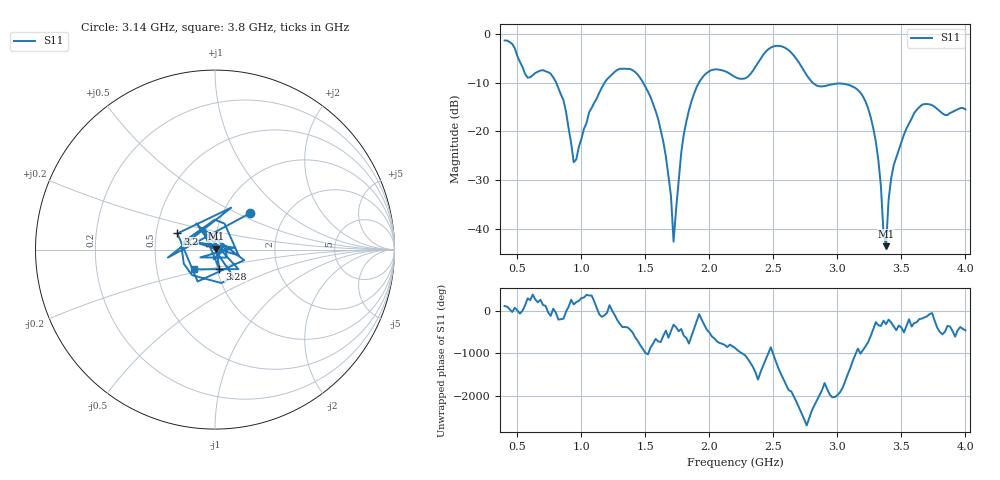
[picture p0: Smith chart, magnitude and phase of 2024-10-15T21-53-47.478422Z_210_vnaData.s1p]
! Created with skrf (http://scikit-rf.org).
# Hz S RI R 50.0
!freq ReS11 ImS11
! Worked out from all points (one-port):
!   181 points, 400 MHz to 4 GHz, reference 50 ohm
!   lowest |S11| = -43.6 dB at 3.38 GHz (marker M1), VSWR 1.01, Z = 50.5 + j0.46 ohm
!   |S11| at or under -10 dB: 803.1 MHz to 1.181 GHz (377.8 MHz wide, 38.1 % of centre); 1.483 GHz to 1.918 GHz (435.4 MHz wide, 25.6 % of centre); 2.808 GHz to end of sweep
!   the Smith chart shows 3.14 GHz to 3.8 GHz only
!   S11 on the Smith chart (normalised r, x): 3.14 GHz: 1.33, +0.58; 3.2 GHz: 0.64, +0.12; 3.28 GHz: 1.02, -0.22; 3.8 GHz: 0.77, -0.17
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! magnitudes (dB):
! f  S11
! 400 MHz  -1.3
! 860 MHz  -13.6
! 940 MHz  -26.3
! 1.06 GHz  -16.1
! 1.3 GHz  -7.1
! 1.44 GHz  -8.3
! 1.58 GHz  -15.8
! 1.66 GHz  -25.2
! 1.7 GHz  -33.3
! 1.72 GHz  -42.7
! 1.76 GHz  -30.1
! 1.82 GHz  -18.0
! 1.92 GHz  -9.9
! 2.2 GHz  -8.8
! 2.5 GHz  -2.5
! 2.66 GHz  -4.4
! 2.84 GHz  -10.6
! 3.1 GHz  -10.5
! 3.14 GHz  -11.1
! 3.2 GHz  -12.8
! 3.28 GHz  -19.3
! 3.32 GHz  -25.9
! 3.36 GHz  -40.8
! 3.38 GHz  -43.6
! 3.42 GHz  -29.6
! 3.56 GHz  -18.4
! 3.8 GHz  -15.9
! 4 GHz  -15.5
